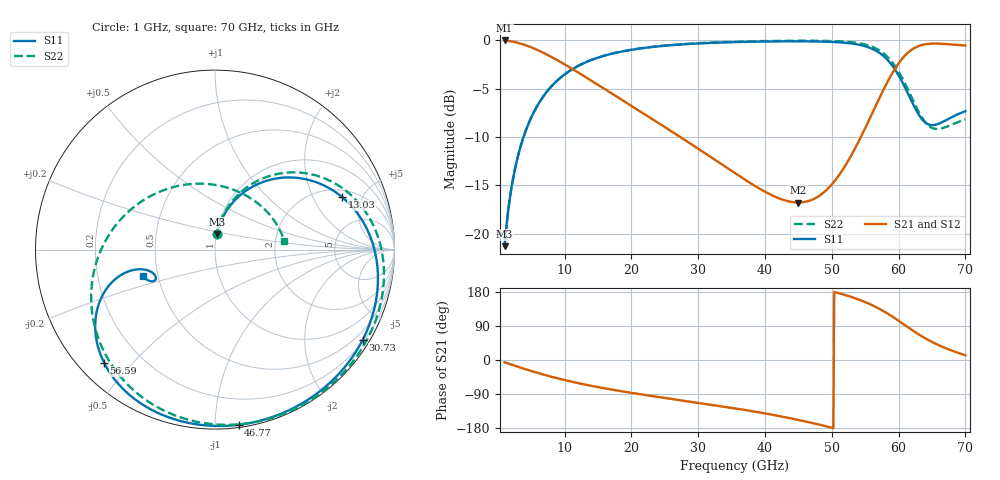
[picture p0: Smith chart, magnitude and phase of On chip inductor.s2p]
# GHz S RI R 50.0
!freq ReS11 ImS11 ReS21 ImS21 ReS12 ImS12 ReS22 ImS22
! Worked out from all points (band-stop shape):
!   504 points, 1 GHz to 70 GHz, reference 50 ohm
!   highest |S21| = -0.03 dB at 1 GHz (marker M1); lowest = -16.8 dB at 45 GHz (marker M2)
!   |S21| within 3 dB of the highest: start of sweep to 11.27 GHz; 59.39 GHz to end of sweep
!   lowest |S11| = -21.3 dB at 1 GHz (marker M3), VSWR 1.19, Z = 50.2 + j8.65 ohm
!   |S11| at or under -10 dB: start of sweep to 3.842 GHz
!   |S22| runs from -21.3 to -0.1 dB; largest |S21 - S12| = 2.6e-12
!   S11 on the Smith chart (normalised r, x): 1 GHz: 1.00, +0.17; 13.03 GHz: 2.40, +3.41; 30.73 GHz: 0.25, -3.55; 46.77 GHz: 0.02, -1.14; 56.59 GHz: 0.07, -0.42; 70 GHz: 0.41, -0.15
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1  0.00935 0.0856  0.9908 -0.105  0.9908 -0.105  0.00865 0.0856
2.521042  0.0573 0.2053  0.9435 -0.2547  0.9435 -0.2547  0.0532 0.2064
4.733467  0.1822 0.3343  0.8198 -0.4295  0.8198 -0.4295  0.1696 0.3409
8.328657  0.4357 0.4015  0.5644 -0.5777  0.5644 -0.5777  0.4083 0.4296
12.61523  0.6875 0.3089  0.2973 -0.59  0.2973 -0.59  0.6531 0.3771
13.03006  0.7065 0.294  0.276 -0.5856  0.276 -0.5856  0.6723 0.3665
18.28457  0.867 0.0673  0.0711 -0.493  0.0711 -0.493  0.8482 0.1962
24.09218  0.9065 -0.2063  -0.0503 -0.3685  -0.0503 -0.3685  0.9312 -0.0194
30.72946  0.8238 -0.501  -0.111 -0.2396  -0.111 -0.2396  0.93 -0.2656
35.5  0.6927 -0.6894  -0.1252 -0.1626  -0.1252 -0.1626  0.877 -0.4402
45  0.2451 -0.9549  -0.1344 -0.0538  -0.1344 -0.0538  0.6095 -0.784
46.76954  0.131 -0.9761  -0.1433 -0.0383  -0.1433 -0.0383  0.5224 -0.8445
47.04609  0.1123 -0.9782  -0.1452 -0.0358  -0.1452 -0.0358  0.5072 -0.8536
53.13026  -0.3607 -0.8886  -0.253 0.0674  -0.253 0.0674  0.00798 -0.9743
55.06613  -0.5177 -0.7707  -0.3145 0.1648  -0.3145 0.1648  -0.2385 -0.9175
56.58717  -0.6178 -0.6306  -0.3514 0.2948  -0.3514 0.2948  -0.4495 -0.7871
58.52305  -0.6667 -0.4014  -0.319 0.5385  -0.319 0.5385  -0.6596 -0.4647
60.59719  -0.5745 -0.1823  -0.0858 0.8028  -0.0858 0.8028  -0.6322 0.00494
61.97996  -0.4663 -0.1163  0.166 0.8782  0.166 0.8782  -0.4385 0.2479
63.22445  -0.3855 -0.1128  0.3941 0.8512  0.3941 0.8512  -0.2135 0.353
66.40481  -0.334 -0.1705  0.7752 0.5622  0.7752 0.5622  0.222 0.2702
70  -0.4023 -0.1496  0.9152 0.2043  0.9152 0.2043  0.3866 0.0454
